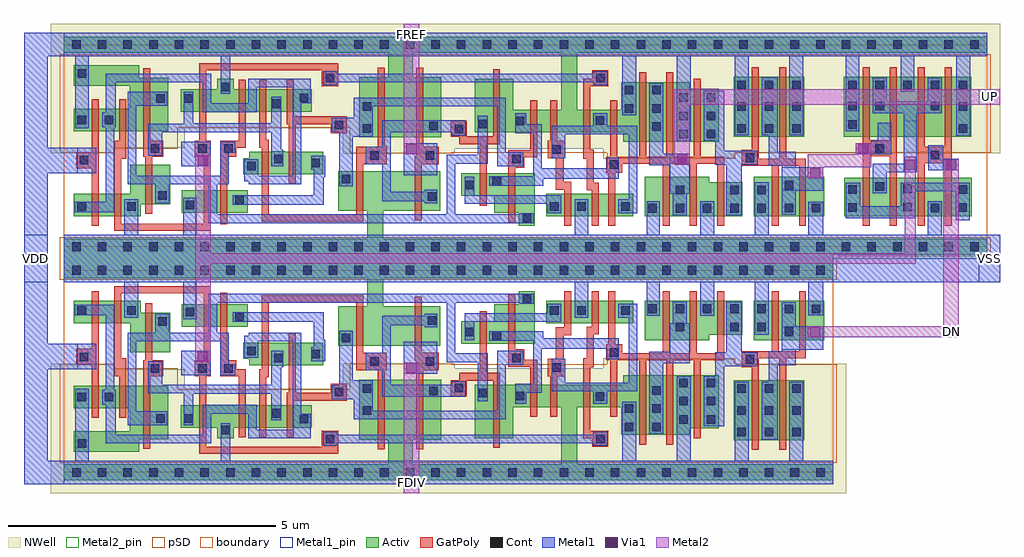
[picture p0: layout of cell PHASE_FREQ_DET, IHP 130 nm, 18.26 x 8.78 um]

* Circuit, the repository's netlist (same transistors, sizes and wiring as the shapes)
** sch_path: /home/designer/shared/LC_VCO_FPLL/xschem/PHASE_FREQ_DET.sch
.subckt PHASE_FREQ_DET FREF UP VDD GND FDIV DN
*.PININFO UP:O FREF:I VDD:B GND:B DN:O FDIV:I
x1 net1 UP FREF VDD nRST VDD GND sg13g2_dfrbp_2
x2 DN net2 FDIV VDD nRST VDD GND sg13g2_dfrbp_2
x3 nRST net1 DN VDD GND sg13g2_nand2_2
* noconn #net2
.ends
.GLOBAL VDD
.GLOBAL GND


************************************************************************
* Library Name: sg13g2_stdcell
* Cell Name:    sg13g2_dfrbp_2
* View Name:    schematic
************************************************************************

.SUBCKT sg13g2_dfrbp_2 Q Q_N CLK D RESET_B VDD VSS
*.PININFO CLK:I D:I RESET_B:I Q:O Q_N:O VDD:B VSS:B
MN11 net12 net2 VSS VSS sg13_lv_nmos m=1 w=420.00n l=130.00n ng=1
MN10 net5 clkneg net12 VSS sg13_lv_nmos m=1 w=420.00n l=130.00n ng=1
MN12 net2 net5 net11 VSS sg13_lv_nmos m=1 w=420.00n l=130.00n ng=1
MN13 net11 RESET_B VSS VSS sg13_lv_nmos m=1 w=420.00n l=130.00n ng=1
MN14 Q_N net5 VSS VSS sg13_lv_nmos m=1 w=1.48u l=130.00n ng=2
MN0 Db D net10 VSS sg13_lv_nmos m=1 w=420.00n l=130.00n ng=1
MN1 net10 RESET_B VSS VSS sg13_lv_nmos m=1 w=420.00n l=130.00n ng=1
MN4 Db clkneg net6 VSS sg13_lv_nmos m=1 w=420.00n l=130.00n ng=1
MN5 net6 clkpos net9 VSS sg13_lv_nmos m=1 w=420.00n l=130.00n ng=1
MN6 net9 net4 net8 VSS sg13_lv_nmos m=1 w=420.00n l=130.00n ng=1
MN7 net8 RESET_B VSS VSS sg13_lv_nmos m=1 w=420.00n l=130.00n ng=1
MN8 net4 net6 VSS VSS sg13_lv_nmos m=1 w=740.00n l=130.00n ng=1
MN2 clkneg CLK VSS VSS sg13_lv_nmos m=1 w=740.00n l=130.00n ng=1
MN9 net4 clkpos net5 VSS sg13_lv_nmos m=1 w=740.00n l=130.00n ng=1
MN3 clkpos clkneg VSS VSS sg13_lv_nmos m=1 w=740.00n l=130.00n ng=1
MN16 Q net1 VSS VSS sg13_lv_nmos m=1 w=1.48u l=130.00n ng=2
MN15 net1 net5 VSS VSS sg13_lv_nmos m=1 w=640.00n l=130.00n ng=1
MP11 net5 clkpos net3 VDD sg13_lv_pmos m=1 w=420.00n l=130.00n ng=1
MP12 net2 net5 VDD VDD sg13_lv_pmos m=1 w=420.00n l=130.00n ng=1
MP13 net2 RESET_B VDD VDD sg13_lv_pmos m=1 w=420.00n l=130.00n ng=1
MP14 Q_N net5 VDD VDD sg13_lv_pmos m=1 w=2.24u l=130.00n ng=2
MP4 Db clkpos net6 VDD sg13_lv_pmos m=1 w=420.00n l=130.00n ng=1
MP0 Db RESET_B VDD VDD sg13_lv_pmos m=1 w=420.00n l=130.00n ng=1
MP1 Db D VDD VDD sg13_lv_pmos m=1 w=420.00n l=130.00n ng=1
MP5 net7 net4 VDD VDD sg13_lv_pmos m=1 w=420.00n l=130.00n ng=1
MP6 net6 clkneg net7 VDD sg13_lv_pmos m=1 w=420.00n l=130.00n ng=1
MP7 net6 RESET_B VDD VDD sg13_lv_pmos m=1 w=420.00n l=130.00n ng=1
MP2 clkneg CLK VDD VDD sg13_lv_pmos m=1 w=1.12u l=130.00n ng=1
MP3 clkpos clkneg VDD VDD sg13_lv_pmos m=1 w=1.12u l=130.00n ng=1
MP8 net4 net6 VDD VDD sg13_lv_pmos m=1 w=1.000u l=130.00n ng=1
MP9 net4 clkneg net5 VDD sg13_lv_pmos m=1 w=1.000u l=130.00n ng=1
MP16 Q net1 VDD VDD sg13_lv_pmos m=1 w=2.24u l=130.00n ng=2
MP10 net3 net2 VDD VDD sg13_lv_pmos m=1 w=420.00n l=130.00n ng=1
MP15 net1 net5 VDD VDD sg13_lv_pmos m=1 w=1.000u l=130.00n ng=1
.ENDS

************************************************************************
* Library Name: sg13g2_stdcell
* Cell Name:    sg13g2_nand2_2
* View Name:    schematic
************************************************************************

.SUBCKT sg13g2_nand2_2 Y A B VDD VSS
*.PININFO A:I B:I Y:O VDD:B VSS:B
MP1 Y B VDD VDD sg13_lv_pmos m=1 w=2.24u l=130.00n ng=2
MP0 Y A VDD VDD sg13_lv_pmos m=1 w=2.24u l=130.00n ng=2
MN1 net1 B VSS VSS sg13_lv_nmos m=1 w=1.44u l=130.00n ng=2
MN0 Y A net1 VSS sg13_lv_nmos m=1 w=1.44u l=130.00n ng=2
.ENDS

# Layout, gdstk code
from math import pi, radians
import gdstk
lib = gdstk.Library(unit=1e-6, precision=1e-09)
def R(c, l, rs):  # rectangles x0, y0, x1, y1
    for r in rs: c.add(gdstk.rectangle(r[:2], r[2:], *l))
def A(c, l, x, y, w, h, nx, ny, dx, dy):  # array of equal rectangles
    R(c, l, [(x+i*dx, y+j*dy, x+i*dx+w, y+j*dy+h) for i in range(nx) for j in range(ny)])
def P(c, l, *ps):  # polygons
    for p in ps: c.add(gdstk.Polygon(p, *l))
Activ = (1, 0)
GatPoly = (5, 0)
Cont = (6, 0)
Metal1 = (8, 0)
Metal1_pin = (8, 2)
Metal2 = (10, 0)
Metal2_pin = (10, 2)
pSD = (14, 0)
Via1 = (19, 0)
NWell = (31, 0)
boundary = (189, 4)

sg13g2_dfrbp_2 = lib.new_cell('sg13g2_dfrbp_2')
R(sg13g2_dfrbp_2, Activ, [(0,-0.15,14.4,0.15), (9.03,0.57,10.66,0.99), (12.91,0.57,14.23,1.31), (2.215,0.635,3.445,1.055), (12.535,2.06,13.86,3.18)])
P(sg13g2_dfrbp_2, Activ, [(10.47,1.96),(10.47,2.145),(7.695,2.145),(7.695,3.145),(8.415,3.145),(8.415,2.565),(9.31,2.565),(9.31,3.63),(0,3.63),(0,3.93),(14.4,3.93),(14.4,3.63),(9.61,3.63),(9.61,2.565),(10.43,2.565),(10.43,3.08),(11.715,3.08),(11.715,2.96),(12.26,2.96),(12.26,1.96)],
  [(10.87,0.57),(10.87,1.31),(12.08,1.31),(12.08,1.21),(12.7,1.21),(12.7,0.57)],
  [(8.52,0.39),(8.52,0.635),(8.06,0.635),(8.06,0.955),(7.445,0.955),(7.445,1.375),(8.82,1.375),(8.82,0.39)],
  [(5.53,2.05),(5.53,3.17),(6.075,3.17),(6.075,3.63),(6.53,3.63),(6.53,3.17),(7.07,3.17),(7.07,2.05)],
  [(5.68,0.15),(5.68,0.675),(5.135,0.675),(5.135,1.415),(7.045,1.415),(7.045,0.675),(5.98,0.675),(5.98,0.15)],
  [(3.365,1.36),(3.365,1.66),(3.475,1.66),(3.475,1.78),(3.905,1.78),(3.905,1.79),(4.145,1.79),(4.145,1.78),(4.86,1.78),(4.86,1.36)],
  [(2.19,2.525),(2.19,2.945),(2.88,2.945),(2.88,3.14),(3.18,3.14),(3.18,2.945),(4.645,2.945),(4.645,2.525)],
  [(0.19,0.57),(0.19,0.99),(1.245,0.99),(1.245,1.535),(2,1.535),(2,0.795),(1.445,0.795),(1.445,0.57)],
  [(0.19,2.16),(0.19,2.58),(1.24,2.58),(1.24,3.01),(0.19,3.01),(0.19,3.395),(1.415,3.395),(1.415,3.16),(1.96,3.16),(1.96,2.16)])
P(sg13g2_dfrbp_2, GatPoly, [(9.88,0.39),(9.88,1.06),(9.785,1.06),(9.785,1.65),(9.72,1.65),(9.72,3.14),(9.895,3.14),(9.895,3.305),(10.195,3.305),(10.195,3.005),(9.85,3.005),(9.85,1.815),(9.915,1.815),(9.915,1.195),(10.01,1.195),(10.01,0.39)],
  [(8.32,0.445),(8.32,1.805),(8.73,1.805),(8.73,2.745),(8.86,2.745),(8.86,1.675),(8.62,1.675),(8.62,1.475),(8.45,1.475),(8.45,0.445)],
  [(13.25,0.39),(13.25,1.515),(12.69,1.515),(12.69,1.815),(12.875,1.815),(12.875,3.36),(13.005,3.36),(13.005,1.65),(13.39,1.65),(13.39,3.36),(13.52,3.36),(13.52,1.65),(13.89,1.65),(13.89,0.39),(13.76,0.39),(13.76,1.515),(13.38,1.515),(13.38,0.39)],
  [(9.37,0.39),(9.37,1.065),(9.205,1.065),(9.205,1.655),(9.055,1.655),(9.055,1.985),(9.11,1.985),(9.11,2.745),(9.24,2.745),(9.24,1.985),(9.385,1.985),(9.385,1.655),(9.355,1.655),(9.355,1.215),(9.5,1.215),(9.5,0.39)],
  [(7.785,0.765),(7.785,1.92),(7.4,1.92),(7.4,2.055),(7.245,2.055),(7.245,2.355),(7.545,2.355),(7.545,2.07),(8.035,2.07),(8.035,3.325),(8.165,3.325),(8.165,1.92),(7.915,1.92),(7.915,0.765)],
  [(10.19,0.39),(10.19,1.385),(10.15,1.385),(10.15,1.685),(10.23,1.685),(10.23,2.745),(10.36,2.745),(10.36,1.685),(10.77,1.685),(10.77,3.26),(10.9,3.26),(10.9,1.685),(11.28,1.685),(11.28,3.26),(11.41,3.26),(11.41,1.685),(11.79,1.685),(11.79,3.14),(11.92,3.14),(11.92,1.685),(12.36,1.685),(12.36,0.39),(12.23,0.39),(12.23,1.555),(11.85,1.555),(11.85,0.39),(11.72,0.39),(11.72,1.555),(11.34,1.555),(11.34,0.39),(11.21,0.39),(11.21,1.555),(10.45,1.555),(10.45,1.385),(10.32,1.385),(10.32,0.39)],
  [(6.575,0.495),(6.575,1.69),(6.6,1.69),(6.6,3.35),(6.73,3.35),(6.73,1.87),(7.02,1.87),(7.02,1.54),(6.705,1.54),(6.705,0.495)],
  [(3.705,0.465),(3.705,1.855),(3.665,1.855),(3.665,3.125),(3.795,3.125),(3.795,2.005),(3.835,2.005),(3.835,0.605),(5.475,0.605),(5.475,1.87),(5.875,1.87),(5.875,3.35),(6.005,3.35),(6.005,1.87),(6.05,1.87),(6.05,1.54),(5.605,1.54),(5.605,0.465)],
  [(4.215,1.18),(4.215,2.29),(4.175,2.29),(4.175,3.125),(4.305,3.125),(4.305,2.44),(5.3,2.44),(5.3,2.125),(5,2.125),(5,2.29),(4.345,2.29),(4.345,1.18)],
  [(2.935,0.425),(2.935,1.985),(3.275,1.985),(3.275,3.125),(3.405,3.125),(3.405,1.855),(3.235,1.855),(3.235,1.685),(3.065,1.685),(3.065,0.425)],
  [(0.95,0.295),(0.95,1.98),(1.04,1.98),(1.04,2.76),(1.17,2.76),(1.17,1.65),(1.08,1.65),(1.08,0.43),(2.62,0.43),(2.62,1.685),(2.45,1.685),(2.45,1.985),(2.54,1.985),(2.54,3.435),(5.135,3.435),(5.135,3.005),(4.835,3.005),(4.835,3.305),(2.67,3.305),(2.67,1.985),(2.75,1.985),(2.75,0.295)],
  [(1.53,0.615),(1.53,1.685),(1.49,1.685),(1.49,3.34),(1.62,3.34),(1.62,1.985),(1.865,1.985),(1.865,1.685),(1.66,1.685),(1.66,0.615)],
  [(0.53,0.39),(0.53,1.47),(0.235,1.47),(0.235,1.77),(0.53,1.77),(0.53,2.76),(0.66,2.76),(0.66,0.39)])
A(sg13g2_dfrbp_2, Cont, 0.16, -0.08, 0.16, 0.16, 30, 2, 0.48, 3.78)
A(sg13g2_dfrbp_2, Cont, 10.94, 0.64, 0.16, 0.16, 5, 1, 0.51, 0)
A(sg13g2_dfrbp_2, Cont, 11.52, 2.03, 0.16, 0.16, 1, 3, 0, 0.34)
A(sg13g2_dfrbp_2, Cont, 12.03, 2.03, 0.16, 0.16, 1, 3, 0, 0.34)
A(sg13g2_dfrbp_2, Cont, 12.605, 2.135, 0.16, 0.16, 1, 3, 0, 0.405)
A(sg13g2_dfrbp_2, Cont, 13.115, 2.135, 0.16, 0.16, 1, 3, 0, 0.405)
A(sg13g2_dfrbp_2, Cont, 13.63, 2.135, 0.16, 0.16, 1, 3, 0, 0.405)
A(sg13g2_dfrbp_2, Cont, 11.01, 2.17, 0.16, 0.16, 1, 3, 0, 0.34)
R(sg13g2_dfrbp_2, Cont, [(8.59,0.46,8.75,0.62), (13.49,0.645,13.65,0.805), (14,0.645,14.16,0.805), (0.26,0.675,0.42,0.835), (1.19,0.675,1.35,0.835), (9.1,0.675,9.26,0.835), (9.61,0.675,9.77,0.835), (10.43,0.675,10.59,0.835), (2.285,0.705,2.445,0.865), (3.215,0.795,3.375,0.955), (6.815,0.86,6.975,1.02), (1.77,0.88,1.93,1.04), (11.45,0.98,11.61,1.14), (12.47,0.98,12.63,1.14), (12.98,0.98,13.14,1.14), (13.49,1.07,13.65,1.23), (7.515,1.075,7.675,1.235), (8.025,1.145,8.185,1.305), (5.205,1.185,5.365,1.345), (3.435,1.43,3.595,1.59), (10.22,1.455,10.38,1.615), (4.63,1.49,4.79,1.65), (0.305,1.54,0.465,1.7), (3.945,1.56,4.105,1.72), (8.39,1.56,8.55,1.72), (12.76,1.585,12.92,1.745), (5.735,1.625,5.895,1.785), (6.775,1.625,6.935,1.785), (9.14,1.74,9.3,1.9), (1.635,1.755,1.795,1.915), (2.52,1.755,2.68,1.915), (3.005,1.755,3.165,1.915), (7.315,2.125,7.475,2.285), (5.6,2.135,5.76,2.295), (6.84,2.175,7,2.335), (5.07,2.2,5.23,2.36), (7.765,2.215,7.925,2.375), (8.46,2.275,8.62,2.435), (9.96,2.285,10.12,2.445), (0.26,2.29,0.42,2.45), (0.77,2.295,0.93,2.455), (10.5,2.51,10.66,2.67), (5.6,2.54,5.76,2.7), (3.905,2.595,4.065,2.755), (1.73,2.69,1.89,2.85), (2.26,2.69,2.42,2.85), (4.415,2.705,4.575,2.865), (10.5,2.85,10.66,3.01), (2.95,2.91,3.11,3.07), (4.905,3.075,5.065,3.235), (9.965,3.075,10.125,3.235), (0.265,3.165,0.425,3.325)])
R(sg13g2_dfrbp_2, Metal1, [(6.365,1.335,6.99,1.935), (0.255,1.375,0.61,1.855), (2.2,1.51,2.75,1.965)])
P(sg13g2_dfrbp_2, Metal1, [(13.44,0.595),(13.44,1.515),(13.19,1.515),(13.19,2.085),(13.065,2.085),(13.065,3.175),(13.36,3.175),(13.36,1.775),(13.7,1.775),(13.7,1.49),(14.21,1.49),(14.21,1.045),(13.7,1.045),(13.7,0.595)],
  [(0.21,0.645),(0.21,0.84),(0.79,0.84),(0.79,2.24),(0.72,2.24),(0.72,2.52),(0.79,2.52),(0.79,3.24),(2.765,3.24),(2.765,2.68),(3.455,2.68),(3.455,3.145),(4.625,3.145),(4.625,2.685),(4.45,2.685),(4.45,1.17),(3.465,1.17),(3.465,1.225),(3.385,1.225),(3.385,1.64),(3.645,1.64),(3.645,1.33),(4.29,1.33),(4.29,2.985),(3.615,2.985),(3.615,2.52),(2.605,2.52),(2.605,3.08),(0.98,3.08),(0.98,2.24),(0.95,2.24),(0.95,0.645)],
  [(4.855,3.025),(4.855,3.285),(5.115,3.285),(5.115,3.235),(9.91,3.235),(9.91,3.285),(10.18,3.285),(10.18,3.025),(9.91,3.025),(9.91,3.075),(5.115,3.075),(5.115,3.025)],
  [(6.755,0.81),(6.755,0.855),(5.965,0.855),(5.965,1.54),(5.65,1.54),(5.65,1.87),(5.965,1.87),(5.965,2.37),(7.525,2.37),(7.525,2.075),(7.265,2.075),(7.265,2.145),(6.125,2.145),(6.125,1.025),(6.755,1.025),(6.755,1.07),(6.99,1.07),(6.99,0.81)],
  [(0,-0.22),(0,0.22),(1.14,0.22),(1.14,0.885),(1.4,0.885),(1.4,0.22),(2.235,0.22),(2.235,0.915),(2.495,0.915),(2.495,0.22),(9.56,0.22),(9.56,0.885),(9.82,0.885),(9.82,0.22),(10.91,0.22),(10.91,0.85),(11.15,0.85),(11.15,0.22),(11.91,0.22),(11.91,0.85),(12.17,0.85),(12.17,0.22),(12.93,0.22),(12.93,1.21),(13.19,1.21),(13.19,0.22),(13.935,0.22),(13.935,0.84),(14.21,0.84),(14.21,0.22),(14.4,0.22),(14.4,-0.22)],
  [(2.705,0.44),(2.705,1.17),(1.98,1.17),(1.98,0.815),(1.72,0.815),(1.72,1.17),(1.2,1.17),(1.2,2.9),(1.94,2.9),(1.94,2.64),(1.36,2.64),(1.36,1.33),(2.935,1.33),(2.935,1.965),(3.215,1.965),(3.215,1.755),(3.095,1.755),(3.095,1.17),(2.875,1.17),(2.875,0.605),(7.17,0.605),(7.17,1.725),(7.745,1.725),(7.745,2.45),(7.935,2.45),(7.935,1.555),(7.33,1.555),(7.33,0.605),(8.54,0.605),(8.54,0.625),(8.8,0.625),(8.8,0.44)],
  [(11.47,1.98),(11.47,3.56),(10.71,3.56),(10.71,2.46),(10.45,2.46),(10.45,3.56),(3.115,3.56),(3.115,2.86),(2.945,2.86),(2.945,3.56),(0.47,3.56),(0.47,2.215),(0.215,2.215),(0.215,3.56),(0,3.56),(0,4),(14.4,4),(14.4,3.56),(13.84,3.56),(13.84,2.085),(13.58,2.085),(13.58,3.56),(12.815,3.56),(12.815,2.085),(12.555,2.085),(12.555,3.56),(11.73,3.56),(11.73,1.98)],
  [(12.4,0.59),(12.4,1.535),(12.19,1.535),(12.19,1.98),(11.98,1.98),(11.98,2.92),(12.36,2.92),(12.36,1.795),(12.985,1.795),(12.985,1.535),(12.685,1.535),(12.685,0.59)],
  [(11.395,0.59),(11.395,0.99),(11.34,0.99),(11.34,1.52),(10.96,1.52),(10.96,3.06),(11.22,3.06),(11.22,1.74),(11.72,1.74),(11.72,0.99),(11.66,0.99),(11.66,0.59)],
  [(10.38,0.625),(10.38,0.885),(10.57,0.885),(10.57,2.1),(9.385,2.1),(9.385,1.655),(9.13,1.655),(9.13,2.26),(9.91,2.26),(9.91,2.495),(10.17,2.495),(10.17,2.26),(10.73,2.26),(10.73,0.625)],
  [(7.96,1.145),(7.96,1.315),(8.79,1.315),(8.79,2.125),(8.455,2.125),(8.455,2.5),(8.66,2.5),(8.66,2.295),(8.95,2.295),(8.95,1.465),(10.165,1.465),(10.165,1.665),(10.39,1.665),(10.39,1.275),(8.97,1.275),(8.97,1.145)],
  [(9.05,0.625),(9.05,0.805),(7.51,0.805),(7.51,1.31),(7.68,1.31),(7.68,0.965),(9.31,0.965),(9.31,0.625)],
  [(5.155,1.135),(5.155,2.15),(5.02,2.15),(5.02,2.41),(5.425,2.41),(5.425,2.79),(8.275,2.79),(8.275,1.77),(8.6,1.77),(8.6,1.51),(8.115,1.51),(8.115,2.63),(5.785,2.63),(5.785,2.06),(5.415,2.06),(5.415,1.135)],
  [(3.165,0.785),(3.165,0.96),(4.685,0.96),(4.685,1.44),(4.63,1.44),(4.63,1.7),(4.895,1.7),(4.895,1.3),(4.865,1.3),(4.865,0.785)],
  [(3.89,1.51),(3.89,2.145),(1.845,2.145),(1.845,1.705),(1.585,1.705),(1.585,2.305),(2.245,2.305),(2.245,2.9),(2.425,2.9),(2.425,2.315),(3.89,2.315),(3.89,2.805),(4.075,2.805),(4.075,1.81),(4.11,1.81),(4.11,1.51)])
R(sg13g2_dfrbp_2, Metal1_pin, [(0,-0.22,14.4,0.22), (11.34,0.99,11.72,1.74), (13.44,1.045,14.21,1.49), (6.365,1.335,6.99,1.935), (0.255,1.375,0.61,1.855), (2.2,1.51,2.75,1.965), (0,3.56,14.4,4)])
R(sg13g2_dfrbp_2, pSD, [(-0.07,-0.18,14.47,0.18)])
P(sg13g2_dfrbp_2, pSD, [(10.17,1.66),(10.17,1.76),(7.245,1.76),(7.245,1.75),(5.35,1.75),(5.35,2.225),(2.14,2.225),(2.14,1.835),(0.945,1.835),(0.945,1.76),(-0.07,1.76),(-0.07,3.6),(14.47,3.6),(14.47,1.76),(12.56,1.76),(12.56,1.66)])
P(sg13g2_dfrbp_2, NWell, [(10.095,1.65),(10.095,1.835),(7.315,1.835),(7.315,1.74),(5.22,1.74),(5.22,2.215),(2.27,2.215),(2.27,1.85),(0.935,1.85),(0.935,1.75),(-0.24,1.75),(-0.24,4.17),(14.64,4.17),(14.64,1.75),(12.57,1.75),(12.57,1.65)])
R(sg13g2_dfrbp_2, boundary, [(0,0,14.4,3.78)])
sg13g2_dfrbp_2.add(gdstk.Label('CLK', (6.69,1.655), layer=8, texttype=25))
sg13g2_dfrbp_2.add(gdstk.Label('VSS', (6.77,0), layer=8, texttype=25))
sg13g2_dfrbp_2.add(gdstk.Label('D', (0.325,1.53), layer=8, texttype=25))
sg13g2_dfrbp_2.add(gdstk.Label('Q_N', (11.56,1.295), layer=8, texttype=25))
sg13g2_dfrbp_2.add(gdstk.Label('Q', (13.98,1.265), layer=8, texttype=25))
sg13g2_dfrbp_2.add(gdstk.Label('VDD', (2.085,3.79), layer=8, texttype=25))
sg13g2_dfrbp_2.add(gdstk.Label('RESET_B', (2.385,1.73), layer=8, texttype=25))

sg13g2_nand2_2 = lib.new_cell('sg13g2_nand2_2')
R(sg13g2_nand2_2, Activ, [(0,-0.15,2.88,0.15), (0.285,0.575,2.67,1.295), (0.3,2.06,2.68,3.18), (0,3.63,2.88,3.93)])
P(sg13g2_nand2_2, GatPoly, [(0.66,0.395),(0.66,3.36),(0.79,3.36),(0.79,1.875),(1.17,1.875),(1.17,3.36),(1.3,3.36),(1.3,0.395),(1.17,0.395),(1.17,1.565),(0.79,1.565),(0.79,0.395)],
  [(1.69,0.395),(1.69,3.36),(1.82,3.36),(1.82,1.99),(2.2,1.99),(2.2,3.36),(2.33,3.36),(2.33,0.395),(2.2,0.395),(2.2,1.69),(1.82,1.69),(1.82,0.395)])
A(sg13g2_nand2_2, Cont, 1.6, -0.08, 0.16, 0.16, 3, 2, 0.48, 3.78)
A(sg13g2_nand2_2, Cont, 0.37, 2.13, 0.16, 0.16, 1, 3, 0, 0.41)
R(sg13g2_nand2_2, Cont, [(0.16,-0.08,0.32,0.08), (0.16,-0.08,0.32,0.08), (0.64,-0.08,0.8,0.08), (0.64,-0.08,0.8,0.08), (1.12,-0.08,1.28,0.08), (1.12,-0.08,1.28,0.08), (1.6,-0.08,1.76,0.08), (0.9,0.645,1.06,0.805), (0.38,0.65,0.54,0.81), (2.44,0.65,2.6,0.81), (1.41,0.66,1.57,0.82), (0.375,0.99,0.535,1.15), (2.44,0.99,2.6,1.15), (1.41,1.005,1.57,1.165), (1.93,1.05,2.09,1.21), (0.9,1.64,1.06,1.8), (1.93,1.76,2.09,1.92), (2.44,2.21,2.6,2.37), (0.9,2.55,1.06,2.71), (1.93,2.55,2.09,2.71), (2.44,2.55,2.6,2.71), (0.9,2.95,1.06,3.11), (1.41,2.95,1.57,3.11), (1.93,2.95,2.09,3.11), (2.44,2.95,2.6,3.11), (0.16,3.7,0.32,3.86), (0.16,3.7,0.32,3.86), (0.64,3.7,0.8,3.86), (0.64,3.7,0.8,3.86), (1.12,3.7,1.28,3.86), (1.12,3.7,1.28,3.86), (1.6,3.7,1.76,3.86)])
R(sg13g2_nand2_2, Metal1, [(0.82,1.435,1.1,1.9)])
P(sg13g2_nand2_2, Metal1, [(0.32,2.08),(0.32,3.56),(0,3.56),(0,4),(2.88,4),(2.88,3.56),(2.65,3.56),(2.65,2.16),(2.39,2.16),(2.39,3.56),(1.62,3.56),(1.62,2.9),(1.36,2.9),(1.36,3.56),(0.58,3.56),(0.58,2.08)],
  [(1.79,1.73),(1.79,2.32),(2.05,2.32),(2.05,1.98),(2.17,1.98),(2.17,1.73)],
  [(1.88,1),(1.88,1.39),(1.32,1.39),(1.32,2.5),(0.85,2.5),(0.85,3.16),(1.11,3.16),(1.11,2.72),(1.88,2.72),(1.88,3.16),(2.14,3.16),(2.14,2.5),(1.56,2.5),(1.56,1.55),(2.14,1.55),(2.14,1)],
  [(0.325,0.5),(0.325,1.2),(1.62,1.2),(1.62,0.76),(2.37,0.76),(2.37,1.2),(2.65,1.2),(2.65,0.53),(1.35,0.53),(1.35,1.035),(0.585,1.035),(0.585,0.5)],
  [(0,-0.22),(0,0.22),(0.85,0.22),(0.85,0.855),(1.11,0.855),(1.11,0.22),(2.88,0.22),(2.88,-0.22)])
R(sg13g2_nand2_2, Metal1_pin, [(0,-0.22,2.88,0.22), (1.32,1.39,1.56,2.36), (0.82,1.435,1.1,1.9), (1.79,1.73,2.05,2.32), (0,3.56,2.88,4)])
R(sg13g2_nand2_2, pSD, [(-0.07,-0.18,2.95,0.18), (-0.07,1.76,2.95,3.6)])
R(sg13g2_nand2_2, NWell, [(-0.24,1.75,3.12,4.17)])
R(sg13g2_nand2_2, boundary, [(0,0,2.88,3.78)])
sg13g2_nand2_2.add(gdstk.Label('Y', (1.44,2.1), layer=8, texttype=25))
sg13g2_nand2_2.add(gdstk.Label('VDD', (1.37,3.78), layer=8, texttype=25))
sg13g2_nand2_2.add(gdstk.Label('A', (1.92,2.1), layer=8, texttype=25))
sg13g2_nand2_2.add(gdstk.Label('VSS', (1.445,-0.02), layer=8, texttype=25))
sg13g2_nand2_2.add(gdstk.Label('B', (0.98,1.655), layer=8, texttype=25))

via_stack_1 = lib.new_cell('via_stack$1')
R(via_stack_1, Metal1, [(-0.145,-0.105,0.145,0.105)])
R(via_stack_1, Metal2, [(-0.145,-0.1,0.145,0.1)])
R(via_stack_1, Via1, [(-0.095,-0.095,0.095,0.095)])

phase_freq_det = lib.new_cell('PHASE_FREQ_DET')
R(phase_freq_det, Activ, [(-7.6,-0.07,6.8,0.07)])
R(phase_freq_det, Metal1, [(-8.34,-4.22,-7.9,4.22), (-7.9,-4.22,-7.6,-3.78), (-7.9,-2.075,-7.345,-1.595), (6.8,-0.44,9.68,0), (9.68,-0.44,9.92,0.44), (-7.9,1.595,-7.345,2.075), (-7.9,3.78,-7.6,4.22)])
R(phase_freq_det, Metal1_pin, [(-8.34,-0.44,-7.9,0.44), (9.52,-0.44,9.92,0.44)])
R(phase_freq_det, Metal2, [(-1.235,-4.39,-0.945,-2.15), (-5.14,-1.735,-4.85,1.735), (6.61,-1.47,9.15,-1.27), (8.86,-1.27,9.15,1.66), (-4.85,-0.1,8.14,0.1), (8.14,-0.1,8.34,1.61), (6.32,1.705,7.51,1.955), (3.83,1.955,4.12,2.88), (-1.235,2.15,-0.945,4.39), (3.83,2.88,9.92,3.17)])
R(phase_freq_det, Metal2_pin, [(-1.235,-4.39,-0.945,-3.99), (8.86,-1.47,9.15,-1.27), (9.52,2.88,9.92,3.17), (-1.235,3.99,-0.945,4.39)])
R(phase_freq_det, pSD, [(-7.67,-0.04,6.87,0.04)])
phase_freq_det.add(gdstk.Reference(sg13g2_dfrbp_2, (-7.6,-0.22), x_reflection=True))
phase_freq_det.add(gdstk.Reference(sg13g2_nand2_2, (9.68,0.22), rotation=pi, x_reflection=True))
phase_freq_det.add(gdstk.Reference(sg13g2_dfrbp_2, (-7.6,0.22)))
phase_freq_det.add(gdstk.Reference(via_stack_1, (6.465,-1.37)))
phase_freq_det.add(gdstk.Reference(via_stack_1, (9.005,1.76), rotation=pi, x_reflection=True))
phase_freq_det.add(gdstk.Reference(via_stack_1, (7.365,2.055), rotation=pi, x_reflection=True))
phase_freq_det.add(gdstk.Reference(via_stack_1, (6.465,1.605)))
phase_freq_det.add(gdstk.Reference(via_stack_1, (8.24,1.755), rotation=pi/2, x_reflection=True))
phase_freq_det.add(gdstk.Reference(via_stack_1, (-4.995,1.835), x_reflection=True))
phase_freq_det.add(gdstk.Reference(via_stack_1, (-4.995,-1.835), x_reflection=True))
phase_freq_det.add(gdstk.Reference(via_stack_1, (-1.09,-2.05), x_reflection=True))
phase_freq_det.add(gdstk.Reference(via_stack_1, (-1.09,2.05), x_reflection=True))
phase_freq_det.add(gdstk.Reference(via_stack_1, (3.975,1.855)))
phase_freq_det.add(gdstk.Label('VSS', (9.72,0), layer=8, texttype=25))
phase_freq_det.add(gdstk.Label('VDD', (-8.12,0), layer=8, texttype=25))
phase_freq_det.add(gdstk.Label('DN', (9.005,-1.37), layer=10, texttype=25))
phase_freq_det.add(gdstk.Label('UP', (9.72,3.025), layer=10, texttype=25))
phase_freq_det.add(gdstk.Label('FDIV', (-1.09,-4.19), layer=10, texttype=25))
phase_freq_det.add(gdstk.Label('FREF', (-1.09,4.19), layer=10, texttype=25))

lib.write_gds('PHASE_FREQ_DET.gds')
